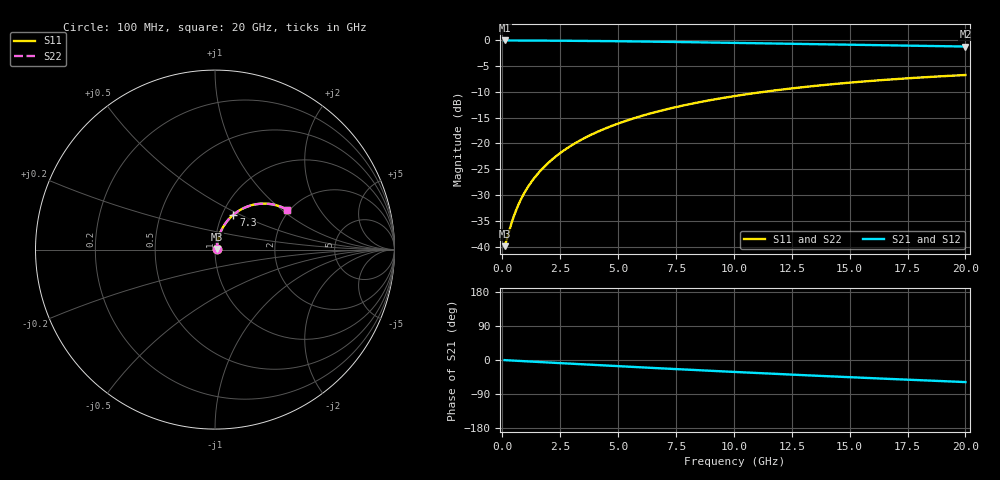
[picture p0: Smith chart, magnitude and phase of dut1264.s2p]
! Touchstone file exported from HFSS 2026.1.0
!  File:  C:/ffzhzh/LocalFiles/Ansys_Project_Files/temp_train_BSMRDL_1264_1783177549_55132.aedt
!  Generated:  11:07:08 PM Jul  4, 2026
!  Design:  BSMRDL
!  Project:  temp_train_BSMRDL_1264_1783177549_55132
! Variables:
!  h_bsmrdl = 3.46um
!  h_ox = 20um
!  h_rdl = 5um
!  h_sub = 80um
!  h_tmrdl = 5um
!  h_tsv = 80um
!  h_via = 3um
!  l_bsmrdl = 963.11um
!  l_sub = 1363.11um
!  l_tmrdl = 200um
!  m_sub = 200um
!  pitch = 24.42um
!  r_tsv = 6um
!  s_tmrdl = 10um
!  w_bsmrdl = 10.22um
!  w_sub = 500um
!  w_tmrdl = 12um
!  x_tsv_center1 = 206um
!  x_tsv_center2 = 1179.33um
!  x_tsv_center3 = 1391.33um
!  x_tsv_center4 = 2364.66um
!  x_tsv_center5 = 2576.66um
!  x_tsv_center6 = 3549.99um
# GHz S MA R 50.000000
! Terminal data exported
! Port[1] = BSM_RDL1_1_T1
! Port[2] = BSM_RDL1_1_T2
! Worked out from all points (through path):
!   200 points, 100 MHz to 20 GHz, reference 50 ohm
!   highest |S21| = -0.08 dB at 100 MHz (marker M1); lowest = -1.3 dB at 20 GHz (marker M2)
!   group delay of S21, straight-line fit = 8.09 ps
!   lowest |S11| = -39.9 dB at 100 MHz (marker M3), VSWR 1.02, Z = 51 + j0.35 ohm
!   |S11| at or under -10 dB: start of sweep to 11.34 GHz
!   |S22| runs from -39.9 to -6.8 dB; largest |S21 - S12| = 2.6e-15
!   S11 on the Smith chart (normalised r, x): 100 MHz: 1.02, +0.01; 7.3 GHz: 1.13, +0.46; 20 GHz: 1.93, +1.09
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0.1  0.01012 19.8  0.9905 -0.3  0.9905 -0.3  0.01012 19.8
! Gamma 0 0 0 0
! Port Impedance 50 0 50 0
0.2  0.01187 35.1  0.9903 -0.7  0.9903 -0.7  0.01187 35.1
0.4  0.01693 52.4  0.9899 -1.4  0.9899 -1.4  0.01693 52.4
0.5  0.01976 57.2  0.9897 -1.7  0.9897 -1.7  0.01976 57.2
0.7  0.02562 63.3  0.9892 -2.4  0.9892 -2.4  0.02562 63.3
1  0.0346 68.2  0.9885 -3.3  0.9885 -3.3  0.0346 68.2
1.3  0.0437 70.8  0.9879 -4.3  0.9879 -4.3  0.0437 70.8
1.7  0.05596 72.5  0.987 -5.6  0.987 -5.6  0.05596 72.5
2.2  0.07134 73.1  0.9856 -7.3  0.9856 -7.3  0.07135 73.1
2.8  0.08977 72.9  0.9837 -9.2  0.9837 -9.2  0.08977 72.9
3.5  0.1111 71.9  0.981 -11.5  0.981 -11.5  0.1111 71.8
4.2  0.132 70.4  0.9778 -13.7  0.9778 -13.7  0.132 70.4
5  0.1555 68.5  0.9736 -16.3  0.9736 -16.3  0.1555 68.4
5.9  0.1811 66.1  0.9683 -19.1  0.9683 -19.1  0.1811 66.1
6.8  0.2059 63.6  0.9625 -21.9  0.9625 -21.9  0.2059 63.6
7.3  0.2192 62.3  0.959 -23.4  0.959 -23.4  0.2193 62.2
8.6  0.2526 58.6  0.9496 -27.3  0.9496 -27.3  0.2526 58.6
10.1  0.2885 54.5  0.9381 -31.7  0.9381 -31.7  0.2886 54.4
11.7  0.3239 50.1  0.9255 -36.3  0.9255 -36.3  0.3239 50.0
13.4  0.3579 45.6  0.9121 -41.1  0.9121 -41.1  0.358 45.5
16.7  0.4144 37.1  0.8871 -49.9  0.8871 -49.9  0.4145 37.0
20  0.4587 29.0  0.8649 -58.3  0.8649 -58.3  0.4589 28.9
